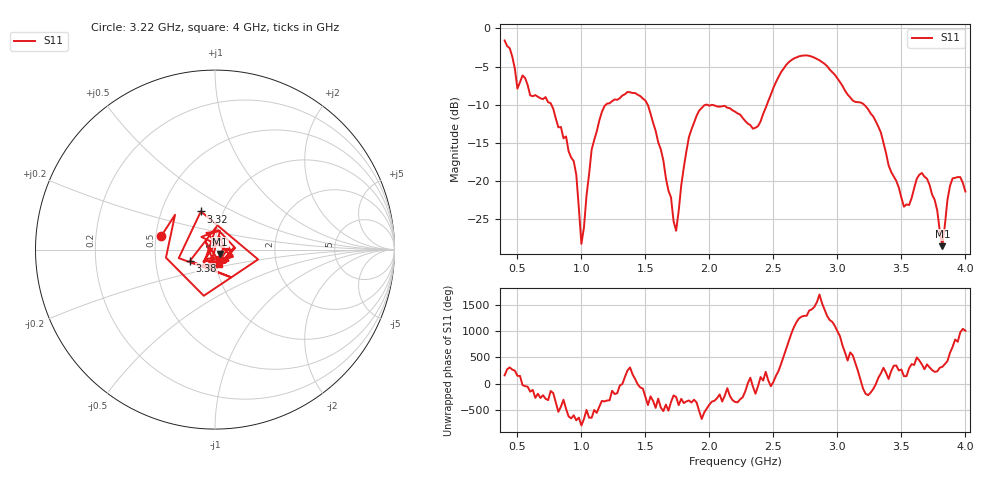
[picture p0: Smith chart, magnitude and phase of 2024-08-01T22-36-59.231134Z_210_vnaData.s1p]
!Created with skrf (http://scikit-rf.org).
# Hz S RI R 50.0
!freq ReS11 ImS11
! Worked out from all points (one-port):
!   181 points, 400 MHz to 4 GHz, reference 50 ohm
!   lowest |S11| = -28.5 dB at 3.82 GHz (marker M1), VSWR 1.08, Z = 52.8 - j2.63 ohm
!   |S11| at or under -10 dB: 1.518 GHz to 1.975 GHz (457.7 MHz wide, 26.2 % of centre); 1.983 GHz to 2.449 GHz (466.4 MHz wide, 21 % of centre); 3.208 GHz to end of sweep (the widest 3 of 4)
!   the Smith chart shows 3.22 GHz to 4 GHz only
!   S11 on the Smith chart (normalised r, x): 3.22 GHz: 0.53, +0.09; 3.32 GHz: 0.78, +0.35; 3.38 GHz: 0.75, -0.10; 4 GHz: 1.03, -0.17
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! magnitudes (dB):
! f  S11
! 400 MHz  -1.6
! 500 MHz  -7.9
! 720 MHz  -9.0
! 860 MHz  -14.4
! 960 MHz  -19.2
! 1 GHz  -28.2
! 1.08 GHz  -15.9
! 1.14 GHz  -12.1
! 1.3 GHz  -9.1
! 1.52 GHz  -10.1
! 1.74 GHz  -26.5
! 1.76 GHz  -23.9
! 1.84 GHz  -14.2
! 1.92 GHz  -10.8
! 2.2 GHz  -10.9
! 2.38 GHz  -12.8
! 2.66 GHz  -3.9
! 2.86 GHz  -4.2
! 3.1 GHz  -9.0
! 3.22 GHz  -10.2
! 3.32 GHz  -12.9
! 3.38 GHz  -16.3
! 3.56 GHz  -23.1
! 3.64 GHz  -19.2
! 3.7 GHz  -19.7
! 3.82 GHz  -28.5
! 3.9 GHz  -19.7
! 4 GHz  -21.4
